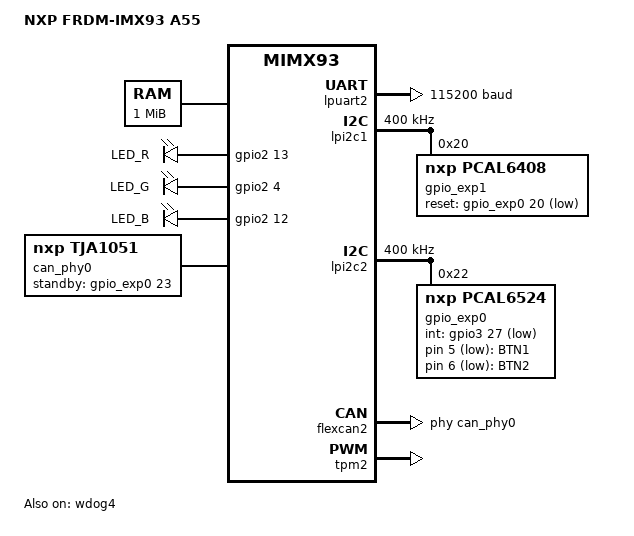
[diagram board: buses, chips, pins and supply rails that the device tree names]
/*
 * Copyright 2025 NXP
 *
 * SPDX-License-Identifier: Apache-2.0
 */

/dts-v1/;

#include <nxp/nxp_mimx93_a55.dtsi>
#include "frdm_imx93-pinctrl.dtsi"
#include <zephyr/dt-bindings/input/input-event-codes.h>

/ {
	model = "NXP FRDM-IMX93 A55";
	compatible = "fsl,mimx93";

	aliases {
		led0 = &led_r;
		led1 = &led_g;
		sw0 = &btn_1;
		watchdog0 = &wdog4;
	};

	chosen {
		zephyr,console = &lpuart2;
		zephyr,shell-uart = &lpuart2;
		zephyr,sram = &dram;
		zephyr,canbus = &flexcan2;
	};

	cpus {
		cpu@0 {
			status = "disabled";
		};
	};

	dram: memory@d0000000 {
		reg = <0xd0000000 DT_SIZE_M(1)>;
	};

	leds {
		compatible = "gpio-leds";

		led_r: led_r {
			label = "LED_R";
			gpios = <&gpio2 13 GPIO_ACTIVE_HIGH>;
		};

		led_g: led_g {
			label = "LED_G";
			gpios = <&gpio2 4 GPIO_ACTIVE_HIGH>;
		};

		led_b: led_b {
			label = "LED_B";
			gpios = <&gpio2 12 GPIO_ACTIVE_HIGH>;
		};
	};

	keys {
		compatible = "gpio-keys";

		btn_1: btn_1 {
			label = "BTN1";
			gpios = <&gpio_exp0 5 GPIO_ACTIVE_LOW>;
			zephyr,code = <INPUT_KEY_0>;
		};

		btn_2: btn_2 {
			label = "BTN2";
			gpios = <&gpio_exp0 6 GPIO_ACTIVE_LOW>;
			zephyr,code = <INPUT_KEY_1>;
		};
	};

	can_phy0: can-phy0 {
		compatible = "nxp,tja1051", "can-transceiver-gpio";
		standby-gpios = <&gpio_exp0 23 GPIO_ACTIVE_HIGH>;
		max-bitrate = <5000000>;
		#phy-cells = <0>;
		status = "okay";
	};
};

&lpuart2 {
	current-speed = <115200>;
	pinctrl-0 = <&uart2_default>;
	pinctrl-names = "default";
	status = "okay";
};

&lpi2c1 {
	clock-frequency = <I2C_BITRATE_FAST>;
	pinctrl-0 = <&i2c1_default>;
	pinctrl-names = "default";
	status = "okay";

	gpio_exp1: pcal6408@20 {
		compatible = "nxp,pcal6408";
		reg = <0x20>;
		gpio-controller;
		#gpio-cells = <2>;
		ngpios = <8>;
		reset-gpios = <&gpio_exp0 20 (GPIO_ACTIVE_LOW | GPIO_PULL_UP)>;
		status = "okay";
	};
};

&lpi2c2 {
	clock-frequency = <I2C_BITRATE_FAST>;
	pinctrl-0 = <&i2c2_default>;
	pinctrl-names = "default";
	status = "okay";

	gpio_exp0: pcal6524@22 {
		compatible = "nxp,pcal6524";
		reg = <0x22>;
		gpio-controller;
		#gpio-cells = <2>;
		ngpios = <24>;
		int-gpios = <&gpio3 27 (GPIO_ACTIVE_LOW | GPIO_PULL_UP)>;
		status = "okay";
	};
};

&gpio1 {
	status = "okay";
};

&gpio2 {
	status = "okay";
};

&gpio3 {
	status = "okay";
};

&gpio4 {
	status = "okay";
};

&flexcan2 {
	pinctrl-0 = <&flexcan2_default>;
	pinctrl-names = "default";
	phys = <&can_phy0>;
	status = "okay";
};

&wdog4 {
	status = "okay";
};

&usdhc1 {
	pinctrl-0 = <&pinmux_usdhc1>;
	pinctrl-1 = <&pinmux_usdhc1_100mhz>;
	pinctrl-2 = <&pinmux_usdhc1_200mhz>;
	pinctrl-names = "default", "med", "fast";
	mmc-hs200-1_8v;
	mmc-hs400-1_8v;
	read-watermark = <0x10>;
	write-watermark = <0x80>;
	status = "disabled";

	sdmmc {
		compatible = "zephyr,mmc-disk";
		disk-name = "SD2";
		status = "disabled";
	};
};

&usdhc2 {
	pinctrl-0 = <&pinmux_usdhc2>;
	pinctrl-1 = <&pinmux_usdhc2_100mhz>;
	pinctrl-2 = <&pinmux_usdhc2_200mhz>;
	pinctrl-names = "default", "med", "fast";
	pwr-gpios = <&gpio3 7 GPIO_ACTIVE_HIGH>;
	cd-gpios = <&gpio3 0 GPIO_ACTIVE_LOW>;
	power-delay-ms = <20>;
	mmc-hs200-1_8v;
	mmc-hs400-1_8v;
	read-watermark = <0x10>;
	write-watermark = <0x80>;
	status = "disabled";

	sdmmc {
		compatible = "zephyr,sdmmc-disk";
		disk-name = "SD";
		status = "disabled";
	};
};

&tpm2 {
	status = "okay";
};

display_i2c: &lpi2c1 {};
